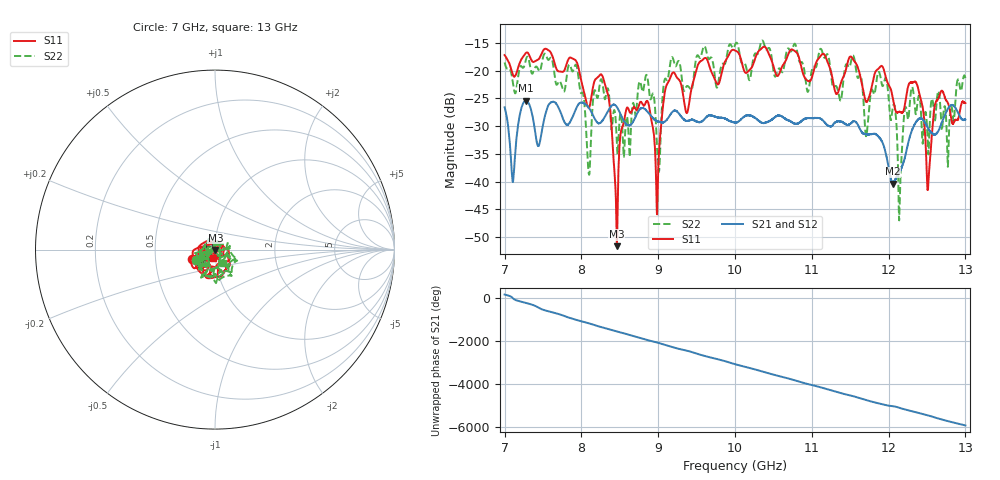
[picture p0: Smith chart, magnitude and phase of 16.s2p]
[Version] 2.0
! Rohde & Schwarz Vector Network Analyzer
! Rohde-Schwarz,ZNL20-2Port,1323001220200009,1.71.1.10-23.02.1.238
! Port Assignments:
! Nominal Port -> Actual Test Port
!  1 -> 1
!  2 -> 2
! Created: GMT+3 2024-09-24 15:14:43
# Hz S DB R 50
[Number of Ports] 2
[Two-Port Data Order] 21_12
! freq[Hz]  S11[mag dB]  S11[ang]  S21[mag dB]  S21[ang]  S12[mag dB]  S12[ang]  S22[mag dB]  S22[ang]
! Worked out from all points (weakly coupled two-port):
!   6001 points, 7 GHz to 13 GHz, reference 50 ohm
!   highest |S21| = -25.42 dB at 7.275 GHz (marker M1); lowest = -40.4 dB at 12.05 GHz (marker M2)
!   lowest |S11| = -51.6 dB at 8.462 GHz (marker M3), VSWR 1.01, Z = 50.2 - j0.136 ohm
!   |S11| at or under -10 dB: start of sweep to end of sweep
!   |S22| runs from -47.0 to -14.6 dB; largest |S21 - S12| = 0.001
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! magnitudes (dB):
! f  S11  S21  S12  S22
! 7 GHz  -17.2  -26.6  -26.7  -18.5
! 7.109 GHz  -20.8  -40.0  -39.9  -22.3
! 7.275 GHz  -16.8  -25.4  -25.4  -18.1
! 7.439 GHz  -18.0  -33.6  -33.5  -19.9
! 8 GHz  -21.9  -25.7  -25.8  -24.0
! 8.095 GHz  -26.7  -26.6  -26.6  -38.3
! 8.3 GHz  -22.1  -28.4  -28.5  -24.9
! 8.462 GHz  -51.6  -26.5  -26.6  -33.2
! 8.6 GHz  -26.6  -29.8  -29.9  -28.7
! 8.848 GHz  -25.5  -27.2  -27.1  -20.8
! 9 GHz  -38.1  -29.1  -29.1  -37.4
! 9.176 GHz  -20.6  -27.6  -27.6  -17.6
! 9.374 GHz  -27.6  -29.1  -29.1  -22.8
! 10 GHz  -16.4  -29.3  -29.4  -15.4
! 11 GHz  -21.3  -28.5  -28.5  -19.9
! 12 GHz  -22.5  -37.3  -37.3  -24.9
! 12.05 GHz  -24.8  -40.4  -40.3  -26.8
! 12.15 GHz  -27.4  -38.1  -38.1  -42.5
! 12.3 GHz  -22.1  -30.8  -30.8  -23.0
! 12.52 GHz  -40.3  -30.4  -30.4  -35.0
! 12.67 GHz  -24.2  -30.3  -30.2  -25.4
! 13 GHz  -25.8  -28.8  -28.8  -21.4
